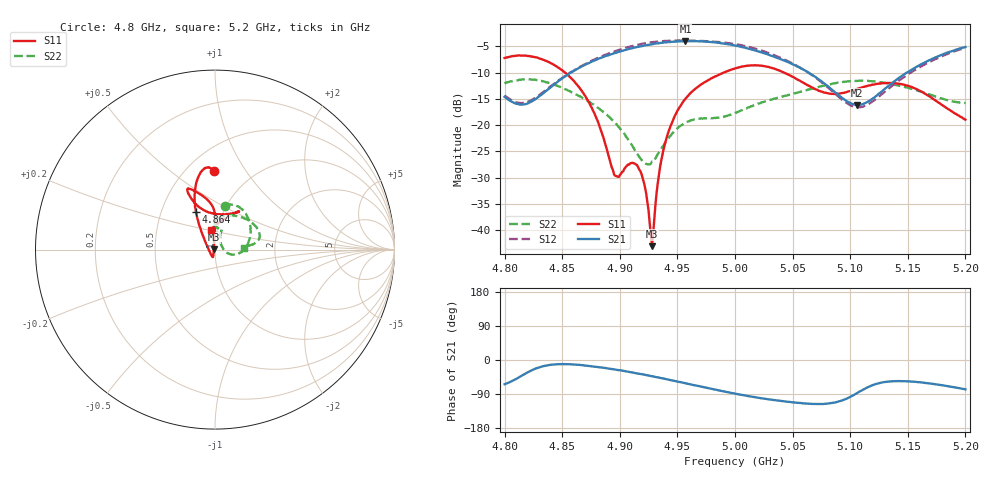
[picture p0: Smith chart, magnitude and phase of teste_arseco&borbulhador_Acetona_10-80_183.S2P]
! Network Analyzer HP8722D
! Hewlett-Packard
! Data name: Linha & Wilkinson
! Saver's name: Rodrigo Anjos
! Comments: Teste da utilização de aquisição
! continua pelo VNA HP8722D
! Time and date: 25/4/2025 16:47
!  Frequency  S11  S21  S12  S22
# HZ  S  MA R 50
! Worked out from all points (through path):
!   401 points, 4.8 GHz to 5.2 GHz, reference 50 ohm
!   highest |S21| = -3.97 dB at 4.957 GHz (marker M1); lowest = -16.2 dB at 5.106 GHz (marker M2)
!   lowest |S11| = -43.1 dB at 4.928 GHz (marker M3), VSWR 1.01, Z = 49.3 + j0.063 ohm
!   |S11| at or under -10 dB: 4.852 GHz to 4.99 GHz (137.9 MHz wide, 2.8 % of centre); 5.043 GHz to end of sweep
!   |S22| runs from -27.5 to -11.3 dB; largest |S21 - S12| = 1.2
!   S11 on the Smith chart (normalised r, x): 4.8 GHz: 0.67, +0.72; 4.864 GHz: 0.75, +0.33; 5.2 GHz: 0.94, +0.21
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4.8e9  0.4357 90.9  0.1858 -64.0  0.1913 69.5  0.2482 77.3
4.82e9  0.4545 97.3  0.1605 -32.6  0.1665 98.1  0.273 62.2
4.843e9  0.3739 106.6  0.2438 -11.9  0.2478 118.9  0.2426 37.1
4.864e9  0.2342 116.8  0.3478 -12.7  0.3518 121.0  0.1898 12.3
4.867e9  0.2112 118.5  0.3619 -13.6  0.3659 120.7  0.1832 8.9
4.88e9  0.1144 128.6  0.4207 -18.2  0.4313 118.4  0.1486 -4.9
4.896e9  0.03294 -169.8  0.4869 -25.1  0.5057 113.2  0.1051 -15.4
4.91e9  0.0435 -108.0  0.537 -32.3  0.5627 107.3  0.06565 -13.3
4.917e9  0.0375 -104.7  0.5606 -36.2  0.588 103.8  0.04946 -0.9
4.922e9  0.02511 -109.8  0.5747 -39.1  0.6011 101.0  0.04343 16.2
4.926e9  0.01143 -132.3  0.5846 -41.6  0.61 98.4  0.04215 32.1
4.928e9  0.007021 174.8  0.5898 -42.7  0.6161 97.3  0.0449 39.5
4.934e9  0.0339 100.5  0.6026 -46.5  0.6283 93.5  0.05529 57.4
4.943e9  0.09115 91.1  0.6183 -52.4  0.6362 87.6  0.07692 68.2
4.957e9  0.1783 89.8  0.6328 -61.3  0.6387 78.6  0.1054 70.8
5e9  0.3464 109.3  0.572 -88.8  0.5923 50.9  0.1306 88.2
5.029e9  0.3581 115.3  0.4693 -103.6  0.4857 34.4  0.1719 85.9
5.067e9  0.2276 105.6  0.3008 -115.9  0.2984 23.6  0.2215 57.4
5.106e9  0.2208 65.4  0.1557 -87.2  0.1479 55.7  0.2633 24.9
5.134e9  0.252 57.8  0.2399 -56.7  0.2253 88.7  0.2487 12.5
5.169e9  0.1872 70.4  0.4166 -61.9  0.4004 85.0  0.1952 6.9
5.2e9  0.1126 100.7  0.5545 -77.4  0.544 70.2  0.1617 3.8
